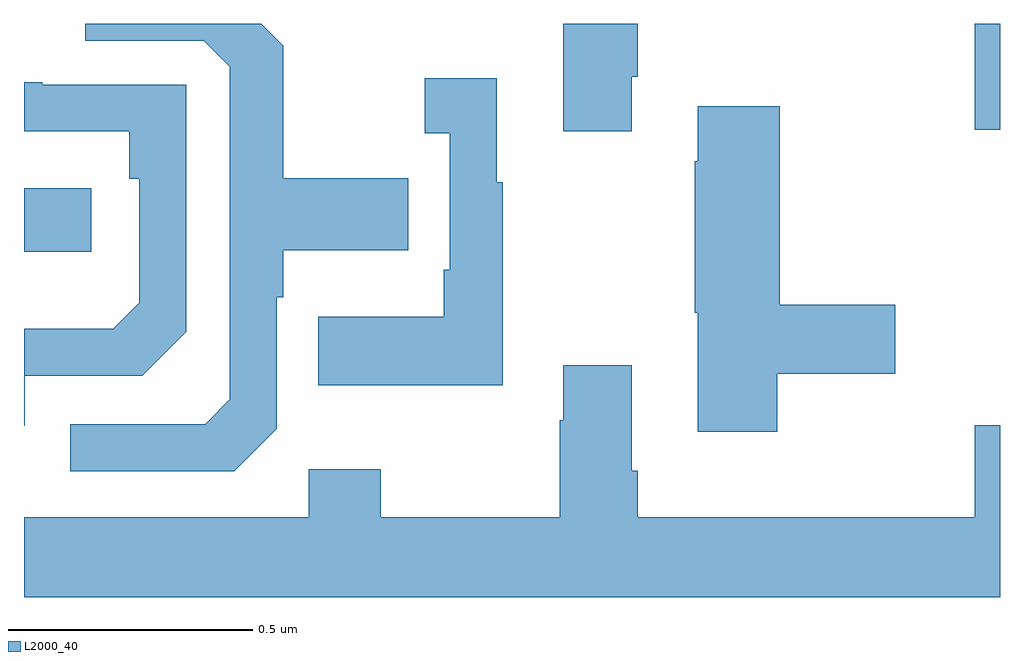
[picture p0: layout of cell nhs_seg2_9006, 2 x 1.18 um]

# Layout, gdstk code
import gdstk
lib = gdstk.Library(unit=1e-6, precision=1e-09)
def R(c, l, rs):  # rectangles x0, y0, x1, y1
    for r in rs: c.add(gdstk.rectangle(r[:2], r[2:], *l))
def P(c, l, *ps):  # polygons
    for p in ps: c.add(gdstk.Polygon(p, *l))
L2000_40 = (2000, 40)

nhs_seg2_9006 = lib.new_cell('nhs_seg2_9006')
R(nhs_seg2_9006, L2000_40, [(223,660.332,223.138,660.462), (224.948,660.582,225,660.8)])
P(nhs_seg2_9006, L2000_40, [(224.245,660.691),(224.258,660.691),(224.258,660.8),(224.105,660.8),(224.105,660.579),(224.245,660.579)],
  [(223.518,659.97),(223.518,660.239),(223.531,660.239),(223.531,660.335),(223.787,660.335),(223.787,660.483),(223.531,660.483),(223.531,660.755),(223.486,660.8),(223.125,660.8),(223.125,660.765),(223.368,660.765),(223.422,660.711),(223.422,660.03),(223.371,659.979),(223.095,659.979),(223.095,659.883),(223.431,659.883)],
  [(223.981,660.475),(223.969,660.475),(223.969,660.688),(223.821,660.688),(223.821,660.575),(223.872,660.575),(223.872,660.295),(223.86,660.295),(223.86,660.199),(223.603,660.199),(223.603,660.059),(223.981,660.059)],
  [(223.002,660.078),(223.242,660.078),(223.332,660.168),(223.332,660.675),(223.037,660.675),(223.037,660.68),(223,660.68),(223,660.579),(223.216,660.579),(223.216,660.482),(223.236,660.482),(223.236,660.228),(223.183,660.175),(223,660.175),(223,659.976),(223.002,659.976)],
  [(224.544,660.082),(224.785,660.082),(224.785,660.224),(224.549,660.224),(224.549,660.631),(224.381,660.631),(224.381,660.518),(224.374,660.518),(224.374,660.207),(224.381,660.207),(224.381,659.964),(224.544,659.964)],
  [(225,659.977),(224.948,659.977),(224.948,659.788),(224.258,659.788),(224.258,659.884),(224.245,659.884),(224.245,660.1),(224.105,660.1),(224.105,659.987),(224.098,659.987),(224.098,659.788),(223.731,659.788),(223.731,659.887),(223.584,659.887),(223.584,659.788),(223,659.788),(223,659.624),(225,659.624)])

lib.write_gds('nhs_seg2_9006.gds')
